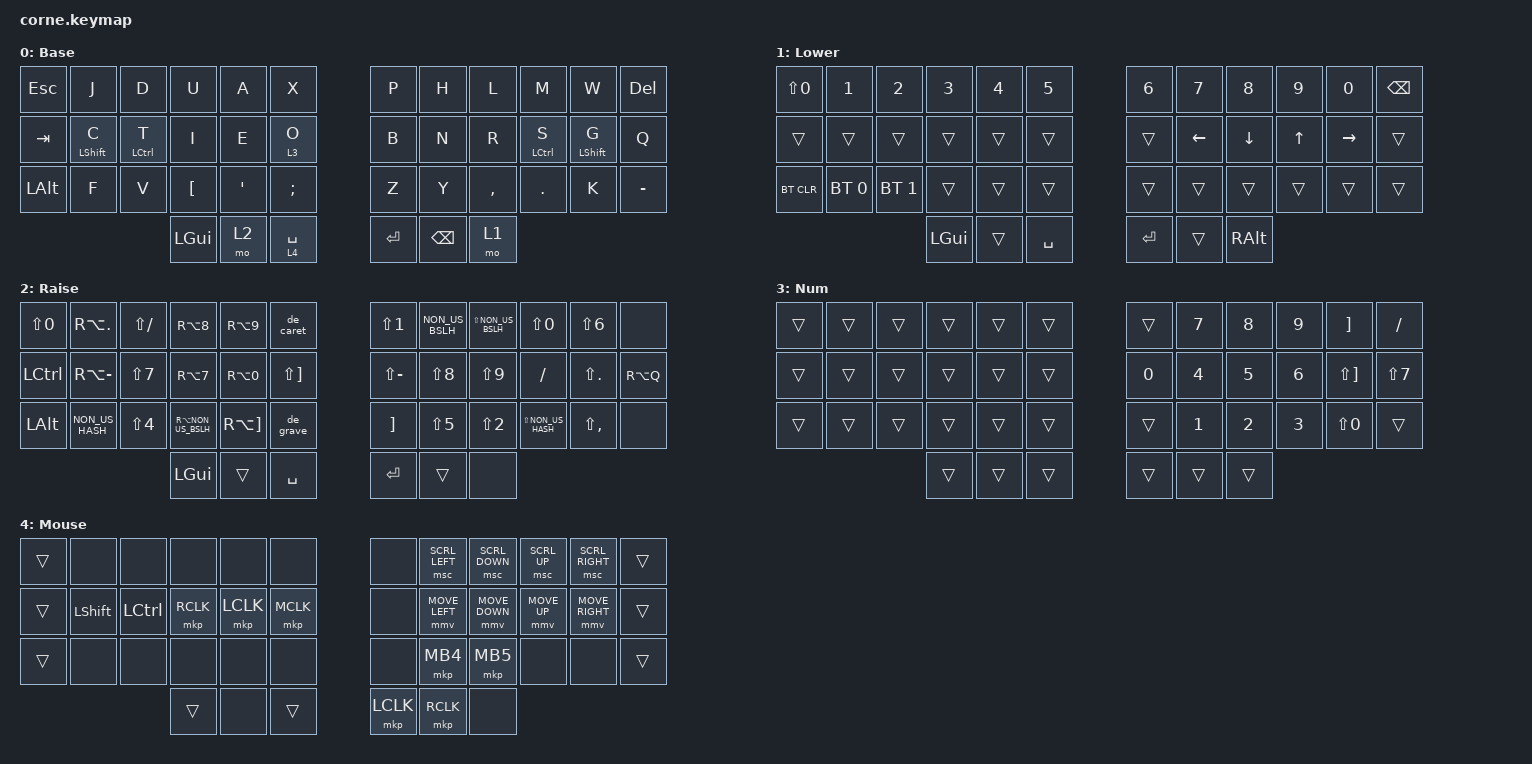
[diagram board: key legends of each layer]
/*
 * Copyright (c) 2020 The ZMK Contributors
 *
 * SPDX-License-Identifier: MIT
 */

#include <behaviors.dtsi>
#include <dt-bindings/zmk/bt.h>
#include <dt-bindings/zmk/keys.h>
#include <dt-bindings/zmk/pointing.h>

/ {
    behaviors {
        HMR_L: HMR_L {
            compatible = "zmk,behavior-hold-tap";
            label = "HMR_L";
            bindings = <&kp>, <&kp>;

            #binding-cells = <2>;
            tapping-term-ms = <200>;
            quick-tap-ms = <175>;
            flavor = "tap-preferred";
            hold-trigger-on-release;
            hold-trigger-key-positions = <6 7 9 10 11 18 19 20 21 22 23 30 31 32 33 34 35 38 39 40 41 8 37 36>;
        };

        HMR_R: HMR_R {
            compatible = "zmk,behavior-hold-tap";
            label = "HMR_R";
            bindings = <&kp>, <&kp>;

            #binding-cells = <2>;
            tapping-term-ms = <200>;
            quick-tap-ms = <175>;
            flavor = "tap-preferred";
            hold-trigger-on-release;
            hold-trigger-key-positions = <0 1 2 3 4 5 12 13 14 15 16 17 24 25 26 27 28 29 36 37 38 39 40 41>;
        };

        hmr_l_layer: hmr_l_layer {
            compatible = "zmk,behavior-hold-tap";
            label = "HMR_L_LAYER";
            bindings = <&mo>, <&kp>;

            #binding-cells = <2>;
            tapping-term-ms = <200>;
            quick-tap-ms = <175>;
            hold-trigger-key-positions = <6 7 8 9 10 11 18 19 20 21 22 23 30 31 32 33 34 35 39 40 41 38 37 36>;
            hold-trigger-on-release;
        };

        // Space: tap = space, hold = mouse layer. Tap-preferred, so it only becomes
        // the layer when held past the tapping term; tap then hold repeats space.
        lt_spc: lt_spc {
            compatible = "zmk,behavior-hold-tap";
            label = "LT_SPC";
            bindings = <&mo>, <&kp>;

            #binding-cells = <2>;
            tapping-term-ms = <200>;
            quick-tap-ms = <175>;
            flavor = "tap-preferred";
        };

        // ^ and ` are dead keys on the German host layout (they combine with the
        // next keystroke instead of typing on their own), so producing the bare
        // character means tapping the dead key then Space.

        de_caret: de_caret {
            compatible = "zmk,behavior-macro";
            label = "DE_CARET";
            #binding-cells = <0>;
            bindings = <&kp GRAVE &kp SPACE>;
        };

        de_grave: de_grave {
            compatible = "zmk,behavior-macro";
            label = "DE_GRAVE";
            #binding-cells = <0>;
            bindings = <&kp LS(EQUAL) &kp SPACE>;
        };
    };

    macros {
    };

    keymap {
        compatible = "zmk,keymap";

        default_layer {
            // -----------------------------------------------------------------------------------------
            // |  TAB |  Q  |  W  |  E  |  R  |  T  |   |  Y  |  U   |  I  |  O  |  P  | BKSP |
            // | CTRL |  A  |  S  |  D  |  F  |  G  |   |  H  |  J   |  K  |  L  |  ;  |  '   |
            // | SHFT |  Z  |  X  |  C  |  V  |  B  |   |  N  |  M   |  ,  |  .  |  /  | ESC  |
            //                    | GUI | LWR | SPC |   | ENT | RSE  | ALT |

            display-name = "Base";
            bindings = <
&kp ESCAPE  &kp J            &kp D           &kp U             &kp A           &kp X               &kp P    &kp H          &kp L      &kp M           &kp W                &kp DELETE
&kp TAB     &HMR_L LSHIFT C  &HMR_L LCTRL T  &kp I             &kp E           &hmr_l_layer 3 O    &kp B    &kp N          &kp R      &HMR_R LCTRL S  &HMR_R LEFT_SHIFT G  &kp Q
&kp LALT    &kp F            &kp V           &kp LEFT_BRACKET  &kp APOSTROPHE  &kp SEMICOLON       &kp Z    &kp Y          &kp COMMA  &kp DOT         &kp K                &kp MINUS
                                             &kp LGUI          &mo 2           &lt_spc 4 SPACE     &kp RET  &kp BACKSPACE  &mo 1
            >;
        };

        lower_layer {
            // -----------------------------------------------------------------------------------------
            // |  TAB |  1  |  2  |  3  |  4  |  5  |   |  6  |  7  |  8  |  9  |  0  | BKSP |
            // | BTCLR| BT1 | BT2 | BT3 | BT4 | BT5 |   | LFT | DWN |  UP | RGT |     |      |
            // | SHFT |     |     |     |     |     |   |     |     |     |     |     |      |
            //                    | GUI |     | SPC |   | ENT |     | ALT |

            display-name = "Lower";
            bindings = <
&kp LS(N0)  &kp N1        &kp N2        &kp N3    &kp N4  &kp N5       &kp N6   &kp N7    &kp N8    &kp N9        &kp N0     &kp BSPC
&trans      &trans        &trans        &trans    &trans  &trans       &trans   &kp LEFT  &kp DOWN  &kp UP_ARROW  &kp RIGHT  &trans
&bt BT_CLR  &bt BT_SEL 0  &bt BT_SEL 1  &trans    &trans  &trans       &trans   &trans    &trans    &trans        &trans     &trans
                                        &kp LGUI  &trans  &kp SPACE    &kp RET  &trans    &kp RALT
            >;
        };

        raise_layer {
            // Neo2 "Ebene 3" (Sondertasten) — brackets & symbols, reachable by holding
            // this layer. Bindings assume a German (QWERTZ) host keyboard layout, since
            // ZMK only sends raw HID codes and the OS layout decides the actual glyph;
            // RA() = AltGr, LS() = Shift. ^ and ` go through the de_caret/de_grave
            // macros because they're dead keys in German (see behaviors above).
            // -----------------------------------------------------------------------------------------
            // |      |  …  |  _  |  [  |  ]  |  ^  |   |  !  |  <  |  >  |  =  |  &  |      |
            // |      |  \  |  /  |  {  |  }  |  *  |   |  ?  |  (  |  )  |  -  |  :  |      |
            // |      |  #  |  $  |  |  |  ~  |  `  |   |  +  |  %  |  "  |  '  |  ;  |      |
            //                    | GUI |     | SPC |   | ENT |     | ALT |

            display-name = "Raise";
            bindings = <
&kp LS(N0)  &kp RA(PERIOD)   &kp LS(SLASH)  &kp RA(N8)           &kp RA(N9)             &de_caret                &kp LS(N1)         &kp NON_US_BSLH  &kp LS(NON_US_BSLH)  &kp LS(N0)           &kp LS(N6)      &none
&kp LCTRL   &kp RA(MINUS)    &kp LS(N7)     &kp RA(N7)           &kp RA(N0)             &kp LS(RIGHT_BRACKET)    &kp LS(MINUS)      &kp LS(N8)       &kp LS(N9)           &kp SLASH            &kp LS(PERIOD)  &kp RA(Q)
&kp LALT    &kp NON_US_HASH  &kp LS(N4)     &kp RA(NON_US_BSLH)  &kp RA(RIGHT_BRACKET)  &de_grave                &kp RIGHT_BRACKET  &kp LS(N5)       &kp LS(N2)           &kp LS(NON_US_HASH)  &kp LS(COMMA)   &none
                                            &kp LGUI             &trans                 &kp SPACE                &kp RET            &trans           &none
            >;
        };

        layer_3 {
            // Math operators use the same German-layout HID trick as raise_layer:
            // + = RIGHT_BRACKET, - = SLASH, * = LS(RIGHT_BRACKET), / = LS(N7), = = LS(N0).

            display-name = "Num";
            bindings = <
&trans  &trans  &trans  &trans  &trans  &trans    &trans  &kp NUMBER_7  &kp N8        &kp N9        &kp RIGHT_BRACKET      &kp SLASH
&trans  &trans  &trans  &trans  &trans  &trans    &kp N0  &kp NUMBER_4  &kp NUMBER_5  &kp NUMBER_6  &kp LS(RIGHT_BRACKET)  &kp LS(N7)
&trans  &trans  &trans  &trans  &trans  &trans    &trans  &kp NUMBER_1  &kp NUMBER_2  &kp NUMBER_3  &kp LS(N0)             &trans
                        &trans  &trans  &trans    &trans  &trans        &trans
            >;
        };

        mouse_layer {
            // Hold Space. Pointer on the arrow-key positions of Lower, scroll in the
            // same columns one row up; clicks on the left home row or the right thumbs.
            // ZMK accelerates on its own, so there are no speed keys.
            // -----------------------------------------------------------------------------------------
            // |      |     |     |     |     |     |   |     | ◀SCR| ▼SCR| ▲SCR| SCR▶|      |
            // |      | SHFT| CTRL| RCLK| LCLK| MCLK|   |     |  ◀  |  ▼  |  ▲  |  ▶  |      |
            // |      |     |     |     |     |     |   |     | BACK| FWD |     |     |      |
            //                    | GUI |     | ███ |   | LCLK| RCLK|     |

            display-name = "Mouse";
            bindings = <
&trans  &none        &none        &none      &none      &none        &none  &msc SCRL_LEFT  &msc SCRL_DOWN  &msc SCRL_UP  &msc SCRL_RIGHT  &trans
&trans  &kp LSHIFT   &kp LCTRL    &mkp RCLK  &mkp LCLK  &mkp MCLK    &none  &mmv MOVE_LEFT  &mmv MOVE_DOWN  &mmv MOVE_UP  &mmv MOVE_RIGHT  &trans
&trans  &none        &none        &none      &none      &none        &none  &mkp MB4        &mkp MB5        &none         &none            &trans
                                  &trans     &none      &trans       &mkp LCLK  &mkp RCLK   &none
            >;
        };
    };
};
